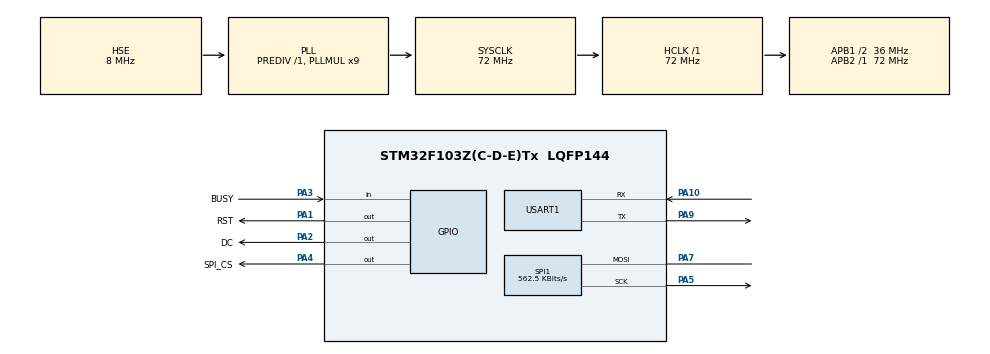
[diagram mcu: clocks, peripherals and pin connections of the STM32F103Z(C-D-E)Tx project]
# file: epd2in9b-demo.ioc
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Mcu.Family=STM32F1
Mcu.Name=STM32F103Z(C-D-E)Tx
Mcu.Package=LQFP144
NVIC.PriorityGroup=NVIC_PRIORITYGROUP_4
OSC_IN.Mode=HSE-External-Oscillator
OSC_IN.Signal=RCC_OSC_IN
OSC_OUT.Mode=HSE-External-Oscillator
OSC_OUT.Signal=RCC_OSC_OUT
PA1.GPIO_Label=RST
PA1.Signal=GPIO_Output
PA10.Mode=Asynchronous
PA10.Signal=USART1_RX
PA2.GPIO_Label=DC
PA2.Signal=GPIO_Output
PA3.GPIO_Label=BUSY
PA3.Signal=GPIO_Input
PA4.GPIO_Label=SPI_CS
PA4.PinState=GPIO_PIN_RESET
PA4.Signal=GPIO_Output
PA5.Mode=Simplex_Bidirectional_Master
PA5.Signal=SPI1_SCK
PA7.Mode=Simplex_Bidirectional_Master
PA7.Signal=SPI1_MOSI
PA9.Mode=Asynchronous
PA9.Signal=USART1_TX
ProjectManager.HeapSize=0x3000
ProjectManager.StackSize=0x1000
ProjectManager.TargetToolchain=MDK-ARM V5
RCC.AHBFreq_Value=72000000
RCC.APB1CLKDivider=RCC_HCLK_DIV2
RCC.APB1Freq_Value=36000000
RCC.APB1TimFreq_Value=72000000
RCC.APB2Freq_Value=72000000
RCC.APB2TimFreq_Value=72000000
RCC.HCLKFreq_Value=72000000
RCC.PLLMUL=RCC_PLL_MUL9
RCC.PLLSourceVirtual=RCC_PLLSOURCE_HSE
RCC.SYSCLKFreq_VALUE=72000000
RCC.SYSCLKSource=RCC_SYSCLKSOURCE_PLLCLK
RCC.USBFreq_Value=72000000
SPI1.BaudRatePrescaler=SPI_BAUDRATEPRESCALER_128
SPI1.CLKPhase=SPI_PHASE_1EDGE
SPI1.CLKPolarity=SPI_POLARITY_LOW
SPI1.CalculateBaudRate=562.5 KBits/s
SPI1.Direction=SPI_DIRECTION_1LINE
SPI1.Mode=SPI_MODE_MASTER
SPI1.VirtualType=VM_MASTER
USART1.VirtualMode=VM_ASYNC
VP_SYS_VS_ND.Mode=No_Debug
board=epd2in9b-demo

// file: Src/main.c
/**
  ******************************************************************************
  * File Name          : main.c
  * Description        : Main program body
  ******************************************************************************
  ** This notice applies to any and all portions of this file
  * that are not between comment pairs USER CODE BEGIN and
  * USER CODE END. Other portions of this file, whether
  * inserted by the user or by software development tools
  * are owned by their respective copyright owners.
  *
  * COPYRIGHT(c) 2017 STMicroelectronics
  *
  * Redistribution and use in source and binary forms, with or without modification,
  * are permitted provided that the following conditions are met:
  *   1. Redistributions of source code must retain the above copyright notice,
  *      this list of conditions and the following disclaimer.
  *   2. Redistributions in binary form must reproduce the above copyright notice,
  *      this list of conditions and the following disclaimer in the documentation
  *      and/or other materials provided with the distribution.
  *   3. Neither the name of STMicroelectronics nor the names of its contributors
  *      may be used to endorse or promote products derived from this software
  *      without specific prior written permission.
  *
  * THIS SOFTWARE IS PROVIDED BY THE COPYRIGHT HOLDERS AND CONTRIBUTORS "AS IS"
  * AND ANY EXPRESS OR IMPLIED WARRANTIES, INCLUDING, BUT NOT LIMITED TO, THE
  * IMPLIED WARRANTIES OF MERCHANTABILITY AND FITNESS FOR A PARTICULAR PURPOSE ARE
  * DISCLAIMED. IN NO EVENT SHALL THE COPYRIGHT HOLDER OR CONTRIBUTORS BE LIABLE
  * FOR ANY DIRECT, INDIRECT, INCIDENTAL, SPECIAL, EXEMPLARY, OR CONSEQUENTIAL
  * DAMAGES (INCLUDING, BUT NOT LIMITED TO, PROCUREMENT OF SUBSTITUTE GOODS OR
  * SERVICES; LOSS OF USE, DATA, OR PROFITS; OR BUSINESS INTERRUPTION) HOWEVER
  * CAUSED AND ON ANY THEORY OF LIABILITY, WHETHER IN CONTRACT, STRICT LIABILITY,
  * OR TORT (INCLUDING NEGLIGENCE OR OTHERWISE) ARISING IN ANY WAY OUT OF THE USE
  * OF THIS SOFTWARE, EVEN IF ADVISED OF THE POSSIBILITY OF SUCH DAMAGE.
  *
  ******************************************************************************
  */
#include "main.h"
#include "stm32f1xx_hal.h"

/* USER CODE BEGIN Includes */
#include "epd2in9b.h"
#include "epdif.h"
#include "epdpaint.h"
#include "imagedata.h"
#include <stdlib.h>
/* USER CODE END Includes */

SPI_HandleTypeDef hspi1;

UART_HandleTypeDef huart1;

/* USER CODE BEGIN PV */
/* Private variables ---------------------------------------------------------*/
#define COLORED      1
#define UNCOLORED    0
/* USER CODE END PV */

void SystemClock_Config(void);
static void MX_GPIO_Init(void);
static void MX_USART1_UART_Init(void);
static void MX_SPI1_Init(void);

/* USER CODE BEGIN PFP */
/* Private function prototypes -----------------------------------------------*/

/* USER CODE END PFP */

int main(void)
{

  /* USER CODE BEGIN 1 */
  /* you have to edit the startup_stm32fxxx.s file and set a big enough heap size */
  unsigned char* frame_buffer_black = (unsigned char*)malloc(EPD_WIDTH * EPD_HEIGHT / 8);
  unsigned char* frame_buffer_red = (unsigned char*)malloc(EPD_WIDTH * EPD_HEIGHT / 8);
  /* USER CODE END 1 */

  /* MCU Configuration----------------------------------------------------------*/

  /* Reset of all peripherals, Initializes the Flash interface and the Systick. */
  HAL_Init();

  /* Configure the system clock */
  SystemClock_Config();

  /* Initialize all configured peripherals */
  MX_GPIO_Init();
  MX_USART1_UART_Init();
  MX_SPI1_Init();

  /* USER CODE BEGIN 2 */
  EPD epd;
  if (EPD_Init(&epd) != 0) {
    printf("e-Paper init failed\n");
    return -1;
  }

  Paint paint_black;
  Paint paint_red;
  Paint_Init(&paint_black, frame_buffer_black, epd.width, epd.height);
  Paint_Init(&paint_red, frame_buffer_red, epd.width, epd.height);
  Paint_Clear(&paint_black, UNCOLORED);
  Paint_Clear(&paint_red, UNCOLORED);

  /* Draw something to the frame buffer */
  /* For simplicity, the arguments are explicit numerical coordinates */
  Paint_SetRotate(&paint_black, ROTATE_0);
  Paint_SetRotate(&paint_red, ROTATE_0);
  Paint_DrawRectangle(&paint_black, 10, 80, 50, 140, COLORED);
  Paint_DrawLine(&paint_black, 10, 80, 50, 140, COLORED);
  Paint_DrawLine(&paint_black, 50, 80, 10, 140, COLORED);
  Paint_DrawCircle(&paint_black, 90, 110, 30, COLORED);
  Paint_DrawFilledRectangle(&paint_red, 10, 180, 50, 240, COLORED);
  Paint_DrawFilledRectangle(&paint_red, 0, 6, 128, 26, COLORED);
  Paint_DrawFilledCircle(&paint_red, 90, 210, 30, COLORED);

  /*Write strings to the buffer */
  Paint_DrawStringAt(&paint_black, 4, 30, "e-Paper Demo", &Font12, COLORED);
  Paint_DrawStringAt(&paint_red, 6, 10, "Hello world!", &Font12, UNCOLORED);

  /* Display the frame_buffer */
  EPD_DisplayFrame(&epd, frame_buffer_black, frame_buffer_red);

  /* Display the image buffer */
  EPD_DisplayFrame(&epd, IMAGE_BLACK, IMAGE_RED);

  /* USER CODE END 2 */

  /* Infinite loop */
  while (1)
  {

  }

}

/** System Clock Configuration
*/
void SystemClock_Config(void)
{

  RCC_OscInitTypeDef RCC_OscInitStruct;
  RCC_ClkInitTypeDef RCC_ClkInitStruct;

    /**Initializes the CPU, AHB and APB busses clocks
    */
  RCC_OscInitStruct.OscillatorType = RCC_OSCILLATORTYPE_HSE;
  RCC_OscInitStruct.HSEState = RCC_HSE_ON;
  RCC_OscInitStruct.HSEPredivValue = RCC_HSE_PREDIV_DIV1;
  RCC_OscInitStruct.HSIState = RCC_HSI_ON;
  RCC_OscInitStruct.PLL.PLLState = RCC_PLL_ON;
  RCC_OscInitStruct.PLL.PLLSource = RCC_PLLSOURCE_HSE;
  RCC_OscInitStruct.PLL.PLLMUL = RCC_PLL_MUL9;
  if (HAL_RCC_OscConfig(&RCC_OscInitStruct) != HAL_OK)
  {
    _Error_Handler(__FILE__, __LINE__);
  }

    /**Initializes the CPU, AHB and APB busses clocks
    */
  RCC_ClkInitStruct.ClockType = RCC_CLOCKTYPE_HCLK|RCC_CLOCKTYPE_SYSCLK
                              |RCC_CLOCKTYPE_PCLK1|RCC_CLOCKTYPE_PCLK2;
  RCC_ClkInitStruct.SYSCLKSource = RCC_SYSCLKSOURCE_PLLCLK;
  RCC_ClkInitStruct.AHBCLKDivider = RCC_SYSCLK_DIV1;
  RCC_ClkInitStruct.APB1CLKDivider = RCC_HCLK_DIV2;
  RCC_ClkInitStruct.APB2CLKDivider = RCC_HCLK_DIV1;

  if (HAL_RCC_ClockConfig(&RCC_ClkInitStruct, FLASH_LATENCY_2) != HAL_OK)
  {
    _Error_Handler(__FILE__, __LINE__);
  }

    /**Configure the Systick interrupt time
    */
  HAL_SYSTICK_Config(HAL_RCC_GetHCLKFreq()/1000);

    /**Configure the Systick
    */
  HAL_SYSTICK_CLKSourceConfig(SYSTICK_CLKSOURCE_HCLK);

  /* SysTick_IRQn interrupt configuration */
  HAL_NVIC_SetPriority(SysTick_IRQn, 0, 0);
}

/* SPI1 init function */
static void MX_SPI1_Init(void)
{

  hspi1.Instance = SPI1;
  hspi1.Init.Mode = SPI_MODE_MASTER;
  hspi1.Init.Direction = SPI_DIRECTION_1LINE;
  hspi1.Init.DataSize = SPI_DATASIZE_8BIT;
  hspi1.Init.CLKPolarity = SPI_POLARITY_LOW;
  hspi1.Init.CLKPhase = SPI_PHASE_1EDGE;
  hspi1.Init.NSS = SPI_NSS_SOFT;
  hspi1.Init.BaudRatePrescaler = SPI_BAUDRATEPRESCALER_128;
  hspi1.Init.FirstBit = SPI_FIRSTBIT_MSB;
  hspi1.Init.TIMode = SPI_TIMODE_DISABLE;
  hspi1.Init.CRCCalculation = SPI_CRCCALCULATION_DISABLE;
  hspi1.Init.CRCPolynomial = 10;
  if (HAL_SPI_Init(&hspi1) != HAL_OK)
  {
    _Error_Handler(__FILE__, __LINE__);
  }

}

/* USART1 init function */
static void MX_USART1_UART_Init(void)
{

  huart1.Instance = USART1;
  huart1.Init.BaudRate = 115200;
  huart1.Init.WordLength = UART_WORDLENGTH_8B;
  huart1.Init.StopBits = UART_STOPBITS_1;
  huart1.Init.Parity = UART_PARITY_NONE;
  huart1.Init.Mode = UART_MODE_TX_RX;
  huart1.Init.HwFlowCtl = UART_HWCONTROL_NONE;
  huart1.Init.OverSampling = UART_OVERSAMPLING_16;
  if (HAL_UART_Init(&huart1) != HAL_OK)
  {
    _Error_Handler(__FILE__, __LINE__);
  }

}

/** Configure pins as
        * Analog
        * Input
        * Output
        * EVENT_OUT
        * EXTI
*/
static void MX_GPIO_Init(void)
{

  GPIO_InitTypeDef GPIO_InitStruct;

  /* GPIO Ports Clock Enable */
  __HAL_RCC_GPIOA_CLK_ENABLE();

  /*Configure GPIO pin Output Level */
  HAL_GPIO_WritePin(GPIOA, RST_Pin|DC_Pin|SPI_CS_Pin, GPIO_PIN_RESET);

  /*Configure GPIO pins : RST_Pin DC_Pin SPI_CS_Pin */
  GPIO_InitStruct.Pin = RST_Pin|DC_Pin|SPI_CS_Pin;
  GPIO_InitStruct.Mode = GPIO_MODE_OUTPUT_PP;
  GPIO_InitStruct.Speed = GPIO_SPEED_FREQ_LOW;
  HAL_GPIO_Init(GPIOA, &GPIO_InitStruct);

  /*Configure GPIO pin : BUSY_Pin */
  GPIO_InitStruct.Pin = BUSY_Pin;
  GPIO_InitStruct.Mode = GPIO_MODE_INPUT;
  GPIO_InitStruct.Pull = GPIO_NOPULL;
  HAL_GPIO_Init(BUSY_GPIO_Port, &GPIO_InitStruct);

}

/* USER CODE BEGIN 4 */
#ifdef __GNUC__
  /* With GCC/RAISONANCE, small printf (option LD Linker->Libraries->Small printf
     set to 'Yes') calls __io_putchar() */
  #define PUTCHAR_PROTOTYPE int __io_putchar(int ch)
#else
  #define PUTCHAR_PROTOTYPE int fputc(int ch, FILE *f)
#endif /* __GNUC__ */
/**
  * @brief  Retargets the C library printf function to the USART.
  * @param  None
  * @retval None
  */
PUTCHAR_PROTOTYPE
{
  /* Place your implementation of fputc here */
  /* e.g. write a character to the EVAL_COM1 and Loop until the end of transmission */
  HAL_UART_Transmit(&huart1, (uint8_t *)&ch, 1, 0xFFFF);

  return ch;
}
/* USER CODE END 4 */

void _Error_Handler(char * file, int line)
{
  while(1)
  {
  }
}

/************************ (C) COPYRIGHT STMicroelectronics *****END OF FILE****/
